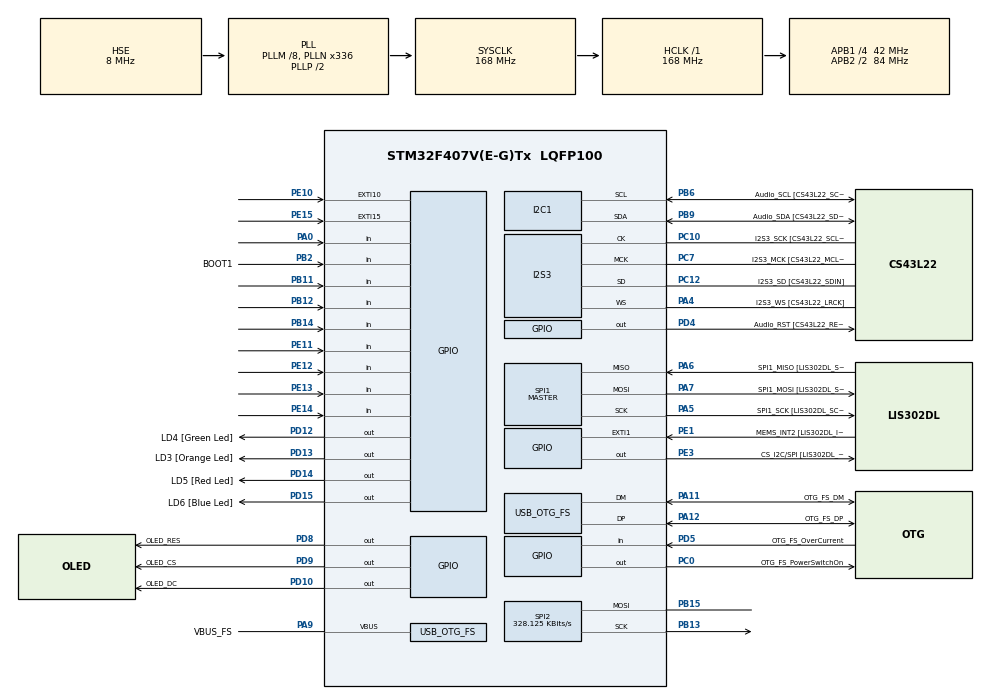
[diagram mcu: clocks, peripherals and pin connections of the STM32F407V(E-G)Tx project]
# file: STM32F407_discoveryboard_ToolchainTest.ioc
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I2S3.AudioFreq-Half_Duplex_Master=I2S_AUDIOFREQ_96K
I2S3.ErrorAudioFreq=-2.34 %
I2S3.ErrorAudioFreq-Half_Duplex_Master=0.8 %
I2S3.FullDuplexMode=I2S_FULLDUPLEXMODE_DISABLE
I2S3.Instance=SPI$Index
I2S3.RealAudioFreq=93.75 KHz
I2S3.RealAudioFreq-Half_Duplex_Master=96.774 KHz
I2S3.VirtualMode=I2S_MODE_MASTER
Mcu.Family=STM32F4
Mcu.Name=STM32F407V(E-G)Tx
Mcu.Package=LQFP100
NVIC.EXTI15_10_IRQn=true\:0\:0\:false\:false\:true\:true\:true
NVIC.OTG_FS_IRQn=true\:0\:0\:false\:false\:true\:true\:true
NVIC.PriorityGroup=NVIC_PRIORITYGROUP_0
NVIC.TIM2_IRQn=true\:0\:0\:false\:false\:true\:true\:true
NVIC.TIM3_IRQn=true\:0\:0\:false\:false\:true\:true\:true
PA0-WKUP.Signal=GPIO_Input
PA10.GPIO_Label=OTG_FS_ID
PA10.GPIO_Mode=GPIO_MODE_AF_PP
PA10.GPIO_PuPd=GPIO_NOPULL
PA10.GPIO_Speed=GPIO_SPEED_FREQ_LOW
PA10.Signal=USB_OTG_FS_ID
PA11.GPIO_Label=OTG_FS_DM
PA11.GPIO_Mode=GPIO_MODE_AF_PP
PA11.GPIO_PuPd=GPIO_NOPULL
PA11.GPIO_Speed=GPIO_SPEED_FREQ_LOW
PA11.Mode=Host_Only
PA11.Signal=USB_OTG_FS_DM
PA12.GPIO_Label=OTG_FS_DP
PA12.GPIO_Mode=GPIO_MODE_AF_PP
PA12.GPIO_PuPd=GPIO_NOPULL
PA12.GPIO_Speed=GPIO_SPEED_FREQ_LOW
PA12.Mode=Host_Only
PA12.Signal=USB_OTG_FS_DP
PA13.GPIO_Label=SWDIO
PA13.Mode=Serial_Wire
PA13.Signal=SYS_JTMS-SWDIO
PA14.GPIO_Label=SWCLK
PA14.Mode=Serial_Wire
PA14.Signal=SYS_JTCK-SWCLK
PA4.GPIO_Label=I2S3_WS [CS43L22_LRCK]
PA4.GPIO_Mode=GPIO_MODE_AF_PP
PA4.GPIO_PuPd=GPIO_NOPULL
PA4.GPIO_Speed=GPIO_SPEED_FREQ_LOW
PA4.Mode=Half_Duplex_Master
PA4.Signal=I2S3_WS
PA5.GPIO_Label=SPI1_SCK [LIS302DL_SCL/SPC]
PA5.GPIO_Mode=GPIO_MODE_AF_PP
PA5.GPIO_PuPd=GPIO_NOPULL
PA5.GPIO_Speed=GPIO_SPEED_FREQ_LOW
PA5.Mode=Full_Duplex_Master
PA5.Signal=SPI1_SCK
PA6.GPIO_Label=SPI1_MISO [LIS302DL_SDO]
PA6.GPIO_Mode=GPIO_MODE_AF_PP
PA6.GPIO_PuPd=GPIO_NOPULL
PA6.GPIO_Speed=GPIO_SPEED_FREQ_LOW
PA6.Mode=Full_Duplex_Master
PA6.Signal=SPI1_MISO
PA7.GPIO_Label=SPI1_MOSI [LIS302DL_SDA/SDI/SDO]
PA7.GPIO_Mode=GPIO_MODE_AF_PP
PA7.GPIO_PuPd=GPIO_NOPULL
PA7.GPIO_Speed=GPIO_SPEED_FREQ_LOW
PA7.Mode=Full_Duplex_Master
PA7.Signal=SPI1_MOSI
PA9.GPIO_Label=VBUS_FS
PA9.GPIO_Mode=GPIO_MODE_INPUT
PA9.GPIO_PuPd=GPIO_NOPULL
PA9.Mode=Activate_VBUS
PA9.Signal=USB_OTG_FS_VBUS
PB10.GPIO_Label=CLK_IN [MP45DT02_CLK]
PB10.GPIO_Mode=GPIO_MODE_AF_PP
PB10.GPIO_PuPd=GPIO_NOPULL
PB10.GPIO_Speed=GPIO_SPEED_FREQ_LOW
PB10.Signal=I2S2_CK
PB11.GPIO_Mode=GPIO_MODE_INPUT
PB11.GPIO_PuPd=GPIO_PULLDOWN
PB11.Signal=GPIO_Input
PB12.GPIO_Mode=GPIO_MODE_INPUT
PB12.GPIO_PuPd=GPIO_PULLDOWN
PB12.Signal=GPIO_Input
PB13.Mode=Simplex_Bidirectional_Master
PB13.Signal=SPI2_SCK
PB14.GPIO_Mode=GPIO_MODE_INPUT
PB14.GPIO_PuPd=GPIO_PULLDOWN
PB14.Signal=GPIO_Input
PB15.Mode=Simplex_Bidirectional_Master
PB15.Signal=SPI2_MOSI
PB2.GPIO_Label=BOOT1
PB2.GPIO_Mode=GPIO_MODE_INPUT
PB2.GPIO_PuPd=GPIO_NOPULL
PB2.Signal=GPIO_Input
PB3.GPIO_Label=SWO
PB3.Signal=SYS_JTDO-SWO
PB6.GPIO_Label=Audio_SCL [CS43L22_SCL]
PB6.GPIO_Mode=GPIO_MODE_AF_OD
PB6.GPIO_Pu=GPIO_PULLUP
PB6.GPIO_PuPd=GPIO_NOPULL
PB6.GPIO_Speed=GPIO_SPEED_FREQ_LOW
PB6.Mode=I2C
PB6.Signal=I2C1_SCL
PB9.GPIO_Label=Audio_SDA [CS43L22_SDA]
PB9.GPIO_Mode=GPIO_MODE_AF_OD
PB9.GPIO_Pu=GPIO_PULLUP
PB9.GPIO_PuPd=GPIO_NOPULL
PB9.GPIO_Speed=GPIO_SPEED_FREQ_LOW
PB9.Mode=I2C
PB9.Signal=I2C1_SDA
PC0.GPIO_Label=OTG_FS_PowerSwitchOn
PC0.GPIO_PuPd=GPIO_NOPULL
PC0.GPIO_Speed=GPIO_SPEED_FREQ_LOW
PC0.PinState=GPIO_PIN_SET
PC0.Signal=GPIO_Output
PC10.GPIO_Label=I2S3_SCK [CS43L22_SCLK]
PC10.GPIO_Mode=GPIO_MODE_AF_PP
PC10.GPIO_PuPd=GPIO_NOPULL
PC10.GPIO_Speed=GPIO_SPEED_FREQ_LOW
PC10.Mode=Half_Duplex_Master
PC10.Signal=I2S3_CK
PC12.GPIO_Label=I2S3_SD [CS43L22_SDIN]
PC12.GPIO_Mode=GPIO_MODE_AF_PP
PC12.GPIO_PuPd=GPIO_NOPULL
PC12.GPIO_Speed=GPIO_SPEED_FREQ_LOW
PC12.Mode=Half_Duplex_Master
PC12.Signal=I2S3_SD
PC14-OSC32_IN.GPIO_Label=PC14-OSC32_IN
PC14-OSC32_IN.Mode=LSE-External-Oscillator
PC14-OSC32_IN.Signal=RCC_OSC32_IN
PC15-OSC32_OUT.GPIO_Label=PC15-OSC32_OUT
PC15-OSC32_OUT.Mode=LSE-External-Oscillator
PC15-OSC32_OUT.Signal=RCC_OSC32_OUT
PC3.GPIO_Label=PDM_OUT [MP45DT02_DOUT]
PC3.GPIO_Mode=GPIO_MODE_AF_PP
PC3.GPIO_PuPd=GPIO_NOPULL
PC3.GPIO_Speed=GPIO_SPEED_FREQ_LOW
PC3.Signal=I2S2_SD
PC7.GPIO_Label=I2S3_MCK [CS43L22_MCLK]
PC7.GPIO_Mode=GPIO_MODE_AF_PP
PC7.GPIO_PuPd=GPIO_NOPULL
PC7.GPIO_Speed=GPIO_SPEED_FREQ_LOW
PC7.Mode=Master_Clock_Activated
PC7.Signal=I2S3_MCK
PD10.GPIO_Label=OLED_DC
PD10.Signal=GPIO_Output
PD12.GPIO_Label=LD4 [Green Led]
PD12.GPIO_PuPd=GPIO_NOPULL
PD12.GPIO_Speed=GPIO_SPEED_FREQ_LOW
PD12.Signal=GPIO_Output
PD13.GPIO_Label=LD3 [Orange Led]
PD13.GPIO_PuPd=GPIO_NOPULL
PD13.GPIO_Speed=GPIO_SPEED_FREQ_LOW
PD13.Signal=GPIO_Output
PD14.GPIO_Label=LD5 [Red Led]
PD14.GPIO_PuPd=GPIO_NOPULL
PD14.GPIO_Speed=GPIO_SPEED_FREQ_LOW
PD14.Signal=GPIO_Output
PD15.GPIO_Label=LD6 [Blue Led]
PD15.GPIO_PuPd=GPIO_NOPULL
PD15.GPIO_Speed=GPIO_SPEED_FREQ_LOW
PD15.Signal=GPIO_Output
PD4.GPIO_Label=Audio_RST [CS43L22_RESET]
PD4.GPIO_PuPd=GPIO_NOPULL
PD4.GPIO_Speed=GPIO_SPEED_FREQ_LOW
PD4.Signal=GPIO_Output
PD5.GPIO_Label=OTG_FS_OverCurrent
PD5.GPIO_Mode=GPIO_MODE_INPUT
PD5.GPIO_PuPd=GPIO_NOPULL
PD5.Signal=GPIO_Input
PD8.GPIO_Label=OLED_RES
PD8.Signal=GPIO_Output
PD9.GPIO_Label=OLED_CS
PD9.Signal=GPIO_Output
PE1.GPIO_Label=MEMS_INT2 [LIS302DL_INT2]
PE1.GPIO_ModeDefaultEXTI=GPIO_MODE_EVT_RISING
PE1.GPIO_PuPd=GPIO_NOPULL
PE1.Signal=GPXTI1
PE10.GPIO_PuPd=GPIO_PULLDOWN
PE10.Signal=GPXTI10
PE11.GPIO_Mode=GPIO_MODE_INPUT
PE11.GPIO_PuPd=GPIO_PULLDOWN
PE11.Signal=GPIO_Input
PE12.GPIO_Mode=GPIO_MODE_INPUT
PE12.GPIO_PuPd=GPIO_PULLDOWN
PE12.Signal=GPIO_Input
PE13.GPIO_Mode=GPIO_MODE_INPUT
PE13.GPIO_PuPd=GPIO_PULLDOWN
PE13.Signal=GPIO_Input
PE14.GPIO_Mode=GPIO_MODE_INPUT
PE14.GPIO_PuPd=GPIO_PULLDOWN
PE14.Signal=GPIO_Input
PE15.GPIO_ModeDefaultEXTI=GPIO_MODE_IT_RISING_FALLING
PE15.GPIO_PuPd=GPIO_PULLDOWN
PE15.Signal=GPXTI15
PE3.GPIO_Label=CS_I2C/SPI [LIS302DL_CS_I2C/SPI]
PE3.GPIO_PuPd=GPIO_NOPULL
PE3.GPIO_Speed=GPIO_SPEED_FREQ_LOW
PE3.Signal=GPIO_Output
PH0-OSC_IN.GPIO_Label=PH0-OSC_IN
PH0-OSC_IN.Mode=HSE-External-Oscillator
PH0-OSC_IN.Signal=RCC_OSC_IN
PH1-OSC_OUT.GPIO_Label=PH1-OSC_OUT
PH1-OSC_OUT.Mode=HSE-External-Oscillator
PH1-OSC_OUT.Signal=RCC_OSC_OUT
ProjectManager.HeapSize=0x200
ProjectManager.StackSize=0x400
ProjectManager.TargetToolchain=Makefile
RCC.48MHZClocksFreq_Value=48000000
RCC.AHBFreq_Value=168000000
RCC.APB1CLKDivider=RCC_HCLK_DIV4
RCC.APB1Freq_Value=42000000
RCC.APB1TimFreq_Value=84000000
RCC.APB2CLKDivider=RCC_HCLK_DIV2
RCC.APB2Freq_Value=84000000
RCC.APB2TimFreq_Value=168000000
RCC.CortexFreq_Value=168000000
RCC.HCLKFreq_Value=168000000
RCC.HSE_VALUE=8000000
RCC.HSI_VALUE=16000000
RCC.PLLM=8
RCC.PLLN=336
RCC.PLLQ=7
RCC.SYSCLKFreq_VALUE=168000000
RCC.SYSCLKSource=RCC_SYSCLKSOURCE_PLLCLK
RCC.VCOOutputFreq_Value=336000000
SPI1.BaudRatePrescaler-Full_Duplex_Master=SPI_BAUDRATEPRESCALER_2
SPI1.CalculateBaudRate-Full_Duplex_Master=42.0 MBits/s
SPI1.Direction=SPI_DIRECTION_2LINES
SPI1.Mode=SPI_MODE_MASTER
SPI1.Mode-Full_Duplex_Master=SPI_MODE_MASTER
SPI1.VirtualType=VM_MASTER
SPI2.BaudRatePrescaler=SPI_BAUDRATEPRESCALER_128
SPI2.CalculateBaudRate=328.125 KBits/s
SPI2.Direction=SPI_DIRECTION_1LINE
SPI2.Mode=SPI_MODE_MASTER
SPI2.VirtualType=VM_MASTER
TIM2.Period=20-1
TIM2.Prescaler=84-1
TIM3.Period=10000
TIM3.Prescaler=8400-1
USB_HOST.BSP.number=1
USB_HOST.USBH_HandleTypeDef-CDC_FS=hUsbHostFS
USB_HOST.VirtualModeFS=Cdc
USB_HOST0.BSP.STBoard=false
USB_HOST0.BSP.api=Unknown
USB_HOST0.BSP.i2caddr=0
USB_HOST0.BSP.i2creg=0
USB_HOST0.BSP.instance=PC0
USB_HOST0.BSP.ip=GPIO
USB_HOST0.BSP.mode=Output
USB_HOST0.BSP.name=Drive_VBUS_FS
USB_HOST0.BSP.solution=PC0
USB_OTG_FS.VirtualMode=Host_Only
USB_OTG_FS.phy_itface=HCD_PHY_EMBEDDED
VP_TIM2_VS_ClockSourceINT.Mode=Internal
VP_TIM3_VS_ClockSourceINT.Mode=Internal
VP_USB_HOST_VS_USB_HOST_CDC_FS.Mode=CDC_FS
board=STM32F407G-DISC1

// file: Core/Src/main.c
/* USER CODE BEGIN Header */
/**
  ******************************************************************************
  * @file           : main.c
  * @brief          : Main program body
  ******************************************************************************
  * @attention
  *
  * <h2><center>&copy; Copyright (c) 2021 STMicroelectronics.
  * All rights reserved.</center></h2>
  *
  * This software component is licensed by ST under Ultimate Liberty license
  * SLA0044, the "License"; You may not use this file except in compliance with
  * the License. You may obtain a copy of the License at:
  *                             www.st.com/SLA0044
  *
  ******************************************************************************
  */
/* USER CODE END Header */
#include "main.h"
#include "usb_host.h"

/* USER CODE BEGIN Includes */
#include "eeprom.h"
#include "ssd1306.h"
#include "ssd1306_tests.h"
#include "quoridor.h"
#include "quoridor_config.h"
#include "quoridor_tests.h"
#include <string.h>
#include "buttons.h"
#include "button_interrupt.h"
/* USER CODE END Includes */

I2C_HandleTypeDef hi2c1;

I2S_HandleTypeDef hi2s3;

SPI_HandleTypeDef hspi1;
SPI_HandleTypeDef hspi2;

TIM_HandleTypeDef htim2;
TIM_HandleTypeDef htim3;

/* USER CODE BEGIN PV */
/* Virtual address defined by the user: 0xFFFF value is prohibited */
uint16_t VirtAddVarTab[NB_OF_VAR] = {0x5555, 0x6666, 0x7777};
uint16_t VarDataTab[NB_OF_VAR] = {0, 0, 0};
uint16_t VarValue, VarDataTmp = 0;
/* USER CODE END PV */

void SystemClock_Config(void);
static void MX_GPIO_Init(void);
static void MX_I2C1_Init(void);
static void MX_I2S3_Init(void);
static void MX_SPI1_Init(void);
static void MX_TIM2_Init(void);
static void MX_SPI2_Init(void);
static void MX_TIM3_Init(void);
void MX_USB_HOST_Process(void);

int main(void)
{
    /* USER CODE BEGIN 1 */
    //https://github.com/afiskon/stm32-ssd1306
    /* USER CODE END 1 */

    /* MCU Configuration--------------------------------------------------------*/

    /* Reset of all peripherals, Initializes the Flash interface and the Systick. */
    HAL_Init();

    /* Configure the system clock */
    SystemClock_Config();

    /* Initialize all configured peripherals */
    MX_GPIO_Init();
    MX_I2C1_Init();
    MX_I2S3_Init();
    MX_SPI1_Init();
    MX_USB_HOST_Init();
    MX_TIM2_Init();
    MX_SPI2_Init();
    MX_TIM3_Init();
    /* USER CODE BEGIN 2 */
    HAL_TIM_Base_Start_IT(&htim2);

    //     // Update SystemCoreClock variable
    // SystemCoreClockUpdate();
    // // Make SysTick overflow every 1ms
    // SysTick_Config(SystemCoreClock / 1000);

    /* USER CODE END 2 */

    /* Infinite loop */
    /* USER CODE BEGIN WHILE */
    oled_init();
#define EEPROM_TEST

#ifdef EEPROM_TEST

//setup memory
// HAL_FLASH_Unlock();
// FLASH_Erase_Sector(11, FLASH_VOLTAGE_RANGE_3);
// HAL_FLASH_Lock();

//write to memory
uint8_t rdBuf[5];
uint8_t wrBuf[5] = {0x11, 0x22, 0x33, 0x44, 0x55};
uint32_t flashAddress = 0x080E0000;
// //uint8_t wrBuf[5] = {0xFE, 0xFE, 0xFE, 0xFE, 0xFE};

// HAL_FLASH_Unlock();
// for(uint32_t i=0; i<5; i++)
// {
//     HAL_FLASH_Program(FLASH_TYPEPROGRAM_BYTE, flashAddress, ((uint8_t *)wrBuf)[i]);
//     flashAddress++;
// }
// HAL_FLASH_Lock();

//read
flashAddress = 0x080E0000;
for(uint32_t i=0; i<5; i++)
{
    *((uint8_t *)rdBuf + i) = *(uint8_t *)flashAddress;
    flashAddress++;
}

    /* Unlock the Flash Program Erase controller */
    // HAL_FLASH_Unlock();

    // /* EEPROM Init */
    // if (EE_Init() != EE_OK)
    // {
    //     Error_Handler();
    // }

    // /* --- Store successively many values of the three variables in the EEPROM ---*/
    // /* Store 0x1000 values of Variable1 in EEPROM */
    // for (VarValue = 1; VarValue <= 5; VarValue++)
    // // for (VarValue = 1; VarValue <= 0x1000; VarValue++)
    // {
    //     /* Sequence 1 */
    //     if ((EE_WriteVariable(VirtAddVarTab[0], VarValue)) != HAL_OK)
    //     {
    //         Error_Handler();
    //     }
    //     if ((EE_ReadVariable(VirtAddVarTab[0], &VarDataTab[0])) != HAL_OK)
    //     {
    //         Error_Handler();
    //     }
    //     if (VarValue != VarDataTab[0])
    //     {
    //         Error_Handler();
    //     }

    //     /* Sequence 2 */
    //     if (EE_WriteVariable(VirtAddVarTab[1], ~VarValue) != HAL_OK)
    //     {
    //         Error_Handler();
    //     }
    //     if (EE_ReadVariable(VirtAddVarTab[1], &VarDataTab[1]) != HAL_OK)
    //     {
    //         Error_Handler();
    //     }
    //     if (((uint16_t)~VarValue) != VarDataTab[1])
    //     {
    //         Error_Handler();
    //     }

    //     /* Sequence 3 */
    //     if (EE_WriteVariable(VirtAddVarTab[2], VarValue << 1) != HAL_OK)
    //     {
    //         Error_Handler();
    //     }
    //     if (EE_ReadVariable(VirtAddVarTab[2], &VarDataTab[2]) != HAL_OK)
    //     {
    //         Error_Handler();
    //     }
    //     if ((VarValue << 1) != VarDataTab[2])
    //     {
    //         Error_Handler();
    //     }
    // }
    // HAL_FLASH_Lock();
#endif
    // /* Store 0x2000 values of Variable2 in EEPROM */
    // for (VarValue = 1; VarValue <= 0x2000; VarValue++)
    // {
    //     if (EE_WriteVariable(VirtAddVarTab[1], VarValue) != HAL_OK)
    //     {
    //         Error_Handler();
    //     }
    //     if (EE_ReadVariable(VirtAddVarTab[1], &VarDataTab[1]) != HAL_OK)
    //     {
    //         Error_Handler();
    //     }
    //     if (VarValue != VarDataTab[1])
    //     {
    //         Error_Handler();
    //     }
    // }

    // /* read the last stored variables data*/
    // if (EE_ReadVariable(VirtAddVarTab[0], &VarDataTmp) != HAL_OK)
    // {
    //     Error_Handler();
    // }
    // if (VarDataTmp != VarDataTab[0])
    // {
    //     Error_Handler();
    // }

    // if (EE_ReadVariable(VirtAddVarTab[1], &VarDataTmp) != HAL_OK)
    // {
    //     Error_Handler();
    // }
    // if (VarDataTmp != VarDataTab[1])
    // {
    //     Error_Handler();
    // }

    // if (EE_ReadVariable(VirtAddVarTab[2], &VarDataTmp) != HAL_OK)
    // {
    //     Error_Handler();
    // }
    // if (VarDataTmp != VarDataTab[2])
    // {
    //     Error_Handler();
    // }

    // /* Store 0x3000 values of Variable3 in EEPROM */
    // for (VarValue = 1; VarValue <= 0x3000; VarValue++)
    // {
    //     if (EE_WriteVariable(VirtAddVarTab[2], VarValue) != HAL_OK)
    //     {
    //         Error_Handler();
    //     }
    //     if (EE_ReadVariable(VirtAddVarTab[2], &VarDataTab[2]) != HAL_OK)
    //     {
    //         Error_Handler();
    //     }
    //     if (VarValue != VarDataTab[2])
    //     {
    //         Error_Handler();
    //     }
    // }

    // /* read the last stored variables data*/
    // if (EE_ReadVariable(VirtAddVarTab[0], &VarDataTmp) != HAL_OK)
    // {
    //     Error_Handler();
    // }
    // if (VarDataTmp != VarDataTab[0])
    // {
    //     Error_Handler();
    // }

    // if (EE_ReadVariable(VirtAddVarTab[1], &VarDataTmp) != HAL_OK)
    // {
    //     Error_Handler();
    // }
    // if (VarDataTmp != VarDataTab[1])
    // {
    //     Error_Handler();
    // }

    // if (EE_ReadVariable(VirtAddVarTab[2], &VarDataTmp) != HAL_OK)
    // {
    //     Error_Handler();
    // }
    // if (VarDataTmp != VarDataTab[2])
    // {
    //     Error_Handler();
    // }

    uint8_t button_pressed_edge_memory;

#define DEFAULT_GAME_AT_STARTUP

#ifdef DEFAULT_GAME_AT_STARTUP

    uint8_t moves_count;
    char* moves_lode_notation;

    char game_0[MOVES_STRING_LENGTH] = "2b,d2,N,S,N,S,N,S,N,SS,a2,h3";
    uint8_t game_0_moves_count = 12;
    char game_1[MOVES_STRING_LENGTH] = "N,3d,N,3f,2c,2e,E,S,a1,b1,c1,d1,e1,f1,g1,h1,a8,b8,c8,d8,e8,S,g8,S,h8,S,W,N,E,N,E,S,E,N,N,S,N,S,N,N,N,N,N,S"; //44
    uint8_t game_1_moves_count = 44;

    if (rdBuf[0] == 0x11){
        moves_count = game_0_moves_count;
        moves_lode_notation = game_0;

    }else{
        moves_count = game_1_moves_count;
        moves_lode_notation = game_1;

    }

    // char moves_lode_notation[MOVES_STRING_LENGTH] = "N,3d,N,3f,2c,2e,E,S,a1,b1,c1,d1,e1,f1,g1,h1,a8,b8,c8,d8,e8,S,g8,S,h8,S,W,N,E,N,E,S,E,N,N,S,N,S,N,E,N,S,N"; //43
    // char moves_lode_notation[MOVES_STRING_LENGTH] = "N,S,1d,S,1f,S,1h,E,c1"; //9
    // char moves_lode_notation[MOVES_STRING_LENGTH] = "N,S,N,S,N,S,2d,4d,2f,E,2b,a1,E,E,N,5f,E,E,2h,g4,c5,S,c3,N,c7,8b,3h,W,W,W,W,N,N,6d,f6,N,E,W,N,7e,W,N,W,8d,f8,W,N,W,E,W,E,W,N";
    //char moves_lode_notation [MOVES_STRING_LENGTH] = "h1,N,S,N,S,N,S,N,SS,a2,h3";
    //char moves_lode_notation [MOVES_STRING_LENGTH] = "2b,d2,N,S,N,S,N,S,N,SS,a2,h3";

    quoridor_init(moves_lode_notation, moves_count);
#else
    char moves_lode_notation[MOVES_STRING_LENGTH] = "";
    quoridor_init(moves_lode_notation, 0);
#endif

    button_interupt_set_button(0, GPIOE, GPIO_PIN_15);

    while (1)
    {

        // update_game_move();
        read_buttons();

        uint8_t edges_up[6];

        edges_up[0] = button_get_edge_up_single_readout(BUTTON_NORTH);
        edges_up[1] = button_get_edge_up_single_readout(BUTTON_EAST);
        edges_up[2] = button_get_edge_up_single_readout(BUTTON_SOUTH);
        edges_up[3] = button_get_edge_up_single_readout(BUTTON_WEST);
        edges_up[4] = button_get_edge_up_single_readout(BUTTON_ENTER);
        //edges_up[5] = button_get_edge_up_single_readout(BUTTON_TOGGLE);
        edges_up[5] = button_interrupt_get_edge_up_single_readout(0);

        // toggle light at each button press to relief myself of the stress if it's a software problem or a fucking bad button problem
        if (
            edges_up[0] ||
            edges_up[1] ||
            edges_up[2] ||
            edges_up[3] ||
            edges_up[4] ||
            edges_up[5])
        {
            HAL_GPIO_TogglePin(led_orange_GPIO_Port, led_orange_Pin);
        }

        program_state_manager(
            edges_up[0],
            edges_up[1],
            edges_up[2],
            edges_up[3],
            edges_up[4],
            edges_up[5]);

        // #ifdef QUORIDOR_AUTOPLAY
        //             autoplay_game_next_move();
        // #else
        //             replay_game_next_move();
        // #endif
        //         }
        // #endif
        // button_pressed_edge_memory = button_pressed;

        /* USER CODE END WHILE */
        MX_USB_HOST_Process();

        /* USER CODE BEGIN 3 */

        // HAL_GPIO_TogglePin(led_orange_GPIO_Port,led_orange_Pin);
        // HAL_Delay(40);
    }

    /* USER CODE END 3 */
}

void SystemClock_Config(void)
{

    RCC_OscInitTypeDef RCC_OscInitStruct = {0};
    RCC_ClkInitTypeDef RCC_ClkInitStruct = {0};

    /** Configure the main internal regulator output voltage
  */
    __HAL_RCC_PWR_CLK_ENABLE();
    __HAL_PWR_VOLTAGESCALING_CONFIG(PWR_REGULATOR_VOLTAGE_SCALE1);
    /** Initializes the RCC Oscillators according to the specified parameters
  * in the RCC_OscInitTypeDef structure.
  */
    RCC_OscInitStruct.OscillatorType = RCC_OSCILLATORTYPE_HSE;
    RCC_OscInitStruct.HSEState = RCC_HSE_ON;
    RCC_OscInitStruct.PLL.PLLState = RCC_PLL_ON;
    RCC_OscInitStruct.PLL.PLLSource = RCC_PLLSOURCE_HSE;
    RCC_OscInitStruct.PLL.PLLM = 8;
    RCC_OscInitStruct.PLL.PLLN = 336;
    RCC_OscInitStruct.PLL.PLLP = RCC_PLLP_DIV2;
    RCC_OscInitStruct.PLL.PLLQ = 7;
    if (HAL_RCC_OscConfig(&RCC_OscInitStruct) != HAL_OK)
    {
        Error_Handler();
    }
    /** Initializes the CPU, AHB and APB buses clocks
  */
    RCC_ClkInitStruct.ClockType = RCC_CLOCKTYPE_HCLK | RCC_CLOCKTYPE_SYSCLK | RCC_CLOCKTYPE_PCLK1 | RCC_CLOCKTYPE_PCLK2;
    RCC_ClkInitStruct.SYSCLKSource = RCC_SYSCLKSOURCE_PLLCLK;
    RCC_ClkInitStruct.AHBCLKDivider = RCC_SYSCLK_DIV1;
    RCC_ClkInitStruct.APB1CLKDivider = RCC_HCLK_DIV4;
    RCC_ClkInitStruct.APB2CLKDivider = RCC_HCLK_DIV2;

    if (HAL_RCC_ClockConfig(&RCC_ClkInitStruct, FLASH_LATENCY_5) != HAL_OK)
    {
        Error_Handler();
    }
}

static void MX_I2C1_Init(void)
{

    hi2c1.Instance = I2C1;
    hi2c1.Init.ClockSpeed = 100000;
    hi2c1.Init.DutyCycle = I2C_DUTYCYCLE_2;
    hi2c1.Init.OwnAddress1 = 0;
    hi2c1.Init.AddressingMode = I2C_ADDRESSINGMODE_7BIT;
    hi2c1.Init.DualAddressMode = I2C_DUALADDRESS_DISABLE;
    hi2c1.Init.OwnAddress2 = 0;
    hi2c1.Init.GeneralCallMode = I2C_GENERALCALL_DISABLE;
    hi2c1.Init.NoStretchMode = I2C_NOSTRETCH_DISABLE;
    if (HAL_I2C_Init(&hi2c1) != HAL_OK)
    {
        Error_Handler();
    }
}

static void MX_I2S3_Init(void)
{

    hi2s3.Instance = SPI3;
    hi2s3.Init.Mode = I2S_MODE_MASTER_TX;
    hi2s3.Init.Standard = I2S_STANDARD_PHILIPS;
    hi2s3.Init.DataFormat = I2S_DATAFORMAT_16B;
    hi2s3.Init.MCLKOutput = I2S_MCLKOUTPUT_ENABLE;
    hi2s3.Init.AudioFreq = I2S_AUDIOFREQ_96K;
    hi2s3.Init.CPOL = I2S_CPOL_LOW;
    hi2s3.Init.ClockSource = I2S_CLOCK_PLL;
    hi2s3.Init.FullDuplexMode = I2S_FULLDUPLEXMODE_DISABLE;
    if (HAL_I2S_Init(&hi2s3) != HAL_OK)
    {
        Error_Handler();
    }
}

static void MX_SPI1_Init(void)
{

    /* SPI1 parameter configuration*/
    hspi1.Instance = SPI1;
    hspi1.Init.Mode = SPI_MODE_MASTER;
    hspi1.Init.Direction = SPI_DIRECTION_2LINES;
    hspi1.Init.DataSize = SPI_DATASIZE_8BIT;
    hspi1.Init.CLKPolarity = SPI_POLARITY_LOW;
    hspi1.Init.CLKPhase = SPI_PHASE_1EDGE;
    hspi1.Init.NSS = SPI_NSS_SOFT;
    hspi1.Init.BaudRatePrescaler = SPI_BAUDRATEPRESCALER_2;
    hspi1.Init.FirstBit = SPI_FIRSTBIT_MSB;
    hspi1.Init.TIMode = SPI_TIMODE_DISABLE;
    hspi1.Init.CRCCalculation = SPI_CRCCALCULATION_DISABLE;
    hspi1.Init.CRCPolynomial = 10;
    if (HAL_SPI_Init(&hspi1) != HAL_OK)
    {
        Error_Handler();
    }
}

static void MX_SPI2_Init(void)
{

    /* SPI2 parameter configuration*/
    hspi2.Instance = SPI2;
    hspi2.Init.Mode = SPI_MODE_MASTER;
    hspi2.Init.Direction = SPI_DIRECTION_1LINE;
    hspi2.Init.DataSize = SPI_DATASIZE_8BIT;
    hspi2.Init.CLKPolarity = SPI_POLARITY_LOW;
    hspi2.Init.CLKPhase = SPI_PHASE_1EDGE;
    hspi2.Init.NSS = SPI_NSS_SOFT;
    hspi2.Init.BaudRatePrescaler = SPI_BAUDRATEPRESCALER_128;
    hspi2.Init.FirstBit = SPI_FIRSTBIT_MSB;
    hspi2.Init.TIMode = SPI_TIMODE_DISABLE;
    hspi2.Init.CRCCalculation = SPI_CRCCALCULATION_DISABLE;
    hspi2.Init.CRCPolynomial = 10;
    if (HAL_SPI_Init(&hspi2) != HAL_OK)
    {
        Error_Handler();
    }
}

static void MX_TIM2_Init(void)
{

    TIM_ClockConfigTypeDef sClockSourceConfig = {0};
    TIM_MasterConfigTypeDef sMasterConfig = {0};

    htim2.Instance = TIM2;
    htim2.Init.Prescaler = 84 - 1;
    htim2.Init.CounterMode = TIM_COUNTERMODE_UP;
    htim2.Init.Period = 20 - 1;
    htim2.Init.ClockDivision = TIM_CLOCKDIVISION_DIV1;
    htim2.Init.AutoReloadPreload = TIM_AUTORELOAD_PRELOAD_DISABLE;
    if (HAL_TIM_Base_Init(&htim2) != HAL_OK)
    {
        Error_Handler();
    }
    sClockSourceConfig.ClockSource = TIM_CLOCKSOURCE_INTERNAL;
    if (HAL_TIM_ConfigClockSource(&htim2, &sClockSourceConfig) != HAL_OK)
    {
        Error_Handler();
    }
    sMasterConfig.MasterOutputTrigger = TIM_TRGO_RESET;
    sMasterConfig.MasterSlaveMode = TIM_MASTERSLAVEMODE_DISABLE;
    if (HAL_TIMEx_MasterConfigSynchronization(&htim2, &sMasterConfig) != HAL_OK)
    {
        Error_Handler();
    }
}

static void MX_TIM3_Init(void)
{

    TIM_ClockConfigTypeDef sClockSourceConfig = {0};
    TIM_MasterConfigTypeDef sMasterConfig = {0};

    htim3.Instance = TIM3;
    htim3.Init.Prescaler = 8400 - 1;
    htim3.Init.CounterMode = TIM_COUNTERMODE_UP;
    //   htim3.Init.Period = 10000;
    htim3.Init.Period = 500;
    htim3.Init.ClockDivision = TIM_CLOCKDIVISION_DIV1;
    htim3.Init.AutoReloadPreload = TIM_AUTORELOAD_PRELOAD_DISABLE;
    if (HAL_TIM_Base_Init(&htim3) != HAL_OK)
    {
        Error_Handler();
    }
    sClockSourceConfig.ClockSource = TIM_CLOCKSOURCE_INTERNAL;
    if (HAL_TIM_ConfigClockSource(&htim3, &sClockSourceConfig) != HAL_OK)
    {
        Error_Handler();
    }
    sMasterConfig.MasterOutputTrigger = TIM_TRGO_RESET;
    sMasterConfig.MasterSlaveMode = TIM_MASTERSLAVEMODE_DISABLE;
    if (HAL_TIMEx_MasterConfigSynchronization(&htim3, &sMasterConfig) != HAL_OK)
    {
        Error_Handler();
    }
}

static void MX_GPIO_Init(void)
{
    GPIO_InitTypeDef GPIO_InitStruct = {0};

    /* GPIO Ports Clock Enable */
    __HAL_RCC_GPIOE_CLK_ENABLE();
    __HAL_RCC_GPIOC_CLK_ENABLE();
    __HAL_RCC_GPIOH_CLK_ENABLE();
    __HAL_RCC_GPIOA_CLK_ENABLE();
    __HAL_RCC_GPIOB_CLK_ENABLE();
    __HAL_RCC_GPIOD_CLK_ENABLE();

    /*Configure GPIO pin Output Level */
    HAL_GPIO_WritePin(CS_I2C_SPI_GPIO_Port, CS_I2C_SPI_Pin, GPIO_PIN_RESET);

    /*Configure GPIO pin Output Level */
    HAL_GPIO_WritePin(OTG_FS_PowerSwitchOn_GPIO_Port, OTG_FS_PowerSwitchOn_Pin, GPIO_PIN_SET);

    /*Configure GPIO pin Output Level */
    HAL_GPIO_WritePin(GPIOD, OLED_RES_Pin | OLED_CS_Pin | OLED_DC_Pin | LD4_Pin | LD3_Pin | LD5_Pin | LD6_Pin | Audio_RST_Pin, GPIO_PIN_RESET);

    /*Configure GPIO pin : CS_I2C_SPI_Pin */
    GPIO_InitStruct.Pin = CS_I2C_SPI_Pin;
    GPIO_InitStruct.Mode = GPIO_MODE_OUTPUT_PP;
    GPIO_InitStruct.Pull = GPIO_NOPULL;
    GPIO_InitStruct.Speed = GPIO_SPEED_FREQ_LOW;
    HAL_GPIO_Init(CS_I2C_SPI_GPIO_Port, &GPIO_InitStruct);

    /*Configure GPIO pin : OTG_FS_PowerSwitchOn_Pin */
    GPIO_InitStruct.Pin = OTG_FS_PowerSwitchOn_Pin;
    GPIO_InitStruct.Mode = GPIO_MODE_OUTPUT_PP;
    GPIO_InitStruct.Pull = GPIO_NOPULL;
    GPIO_InitStruct.Speed = GPIO_SPEED_FREQ_LOW;
    HAL_GPIO_Init(OTG_FS_PowerSwitchOn_GPIO_Port, &GPIO_InitStruct);

    /*Configure GPIO pin : PDM_OUT_Pin */
    GPIO_InitStruct.Pin = PDM_OUT_Pin;
    GPIO_InitStruct.Mode = GPIO_MODE_AF_PP;
    GPIO_InitStruct.Pull = GPIO_NOPULL;
    GPIO_InitStruct.Speed = GPIO_SPEED_FREQ_LOW;
    GPIO_InitStruct.Alternate = GPIO_AF5_SPI2;
    HAL_GPIO_Init(PDM_OUT_GPIO_Port, &GPIO_InitStruct);

    /*Configure GPIO pin : PA0 */
    GPIO_InitStruct.Pin = GPIO_PIN_0;
    GPIO_InitStruct.Mode = GPIO_MODE_INPUT;
    GPIO_InitStruct.Pull = GPIO_NOPULL;
    HAL_GPIO_Init(GPIOA, &GPIO_InitStruct);

    /*Configure GPIO pin : BOOT1_Pin */
    GPIO_InitStruct.Pin = BOOT1_Pin;
    GPIO_InitStruct.Mode = GPIO_MODE_INPUT;
    GPIO_InitStruct.Pull = GPIO_NOPULL;
    HAL_GPIO_Init(BOOT1_GPIO_Port, &GPIO_InitStruct);

    /*Configure GPIO pin : PE10 */
    GPIO_InitStruct.Pin = GPIO_PIN_10;
    GPIO_InitStruct.Mode = GPIO_MODE_IT_RISING;
    GPIO_InitStruct.Pull = GPIO_PULLDOWN;
    HAL_GPIO_Init(GPIOE, &GPIO_InitStruct);

    /*Configure GPIO pins : PE11 PE12 PE13 PE14 */
    GPIO_InitStruct.Pin = GPIO_PIN_11 | GPIO_PIN_12 | GPIO_PIN_13 | GPIO_PIN_14;
    GPIO_InitStruct.Mode = GPIO_MODE_INPUT;
    GPIO_InitStruct.Pull = GPIO_PULLDOWN;
    HAL_GPIO_Init(GPIOE, &GPIO_InitStruct);

    /*Configure GPIO pin : PE15 */
    GPIO_InitStruct.Pin = GPIO_PIN_15;
    GPIO_InitStruct.Mode = GPIO_MODE_IT_RISING_FALLING;
    GPIO_InitStruct.Pull = GPIO_PULLDOWN;
    HAL_GPIO_Init(GPIOE, &GPIO_InitStruct);

    /*Configure GPIO pin : CLK_IN_Pin */
    GPIO_InitStruct.Pin = CLK_IN_Pin;
    GPIO_InitStruct.Mode = GPIO_MODE_AF_PP;
    GPIO_InitStruct.Pull = GPIO_NOPULL;
    GPIO_InitStruct.Speed = GPIO_SPEED_FREQ_LOW;
    GPIO_InitStruct.Alternate = GPIO_AF5_SPI2;
    HAL_GPIO_Init(CLK_IN_GPIO_Port, &GPIO_InitStruct);

    /*Configure GPIO pins : PB11 PB12 PB14 */
    GPIO_InitStruct.Pin = GPIO_PIN_11 | GPIO_PIN_12 | GPIO_PIN_14;
    GPIO_InitStruct.Mode = GPIO_MODE_INPUT;
    GPIO_InitStruct.Pull = GPIO_PULLDOWN;
    HAL_GPIO_Init(GPIOB, &GPIO_InitStruct);

    /*Configure GPIO pins : OLED_RES_Pin OLED_CS_Pin OLED_DC_Pin LD4_Pin
                           LD3_Pin LD5_Pin LD6_Pin Audio_RST_Pin */
    GPIO_InitStruct.Pin = OLED_RES_Pin | OLED_CS_Pin | OLED_DC_Pin | LD4_Pin | LD3_Pin | LD5_Pin | LD6_Pin | Audio_RST_Pin;
    GPIO_InitStruct.Mode = GPIO_MODE_OUTPUT_PP;
    GPIO_InitStruct.Pull = GPIO_NOPULL;
    GPIO_InitStruct.Speed = GPIO_SPEED_FREQ_LOW;
    HAL_GPIO_Init(GPIOD, &GPIO_InitStruct);

    /*Configure GPIO pin : OTG_FS_OverCurrent_Pin */
    GPIO_InitStruct.Pin = OTG_FS_OverCurrent_Pin;
    GPIO_InitStruct.Mode = GPIO_MODE_INPUT;
    GPIO_InitStruct.Pull = GPIO_NOPULL;
    HAL_GPIO_Init(OTG_FS_OverCurrent_GPIO_Port, &GPIO_InitStruct);

    /*Configure GPIO pin : MEMS_INT2_Pin */
    GPIO_InitStruct.Pin = MEMS_INT2_Pin;
    GPIO_InitStruct.Mode = GPIO_MODE_EVT_RISING;
    GPIO_InitStruct.Pull = GPIO_NOPULL;
    HAL_GPIO_Init(MEMS_INT2_GPIO_Port, &GPIO_InitStruct);

    /* EXTI interrupt init*/
    HAL_NVIC_SetPriority(EXTI15_10_IRQn, 0, 0);
    HAL_NVIC_EnableIRQ(EXTI15_10_IRQn);
}

/* USER CODE BEGIN 4 */

void read_buttons()
{
    button_set_state(BUTTON_SOUTH, HAL_GPIO_ReadPin(GPIOB, GPIO_PIN_11));
    button_set_state(BUTTON_NORTH, HAL_GPIO_ReadPin(GPIOB, GPIO_PIN_12));
    button_set_state(BUTTON_ENTER, HAL_GPIO_ReadPin(GPIOB, GPIO_PIN_14));
    button_set_state(BUTTON_EAST, HAL_GPIO_ReadPin(GPIOE, GPIO_PIN_13));
    button_set_state(BUTTON_WEST, HAL_GPIO_ReadPin(GPIOE, GPIO_PIN_14));
    //button_set_state(BUTTON_TOGGLE, HAL_GPIO_ReadPin(GPIOE, GPIO_PIN_15));
    buttons_refresh();
}
void HAL_GPIO_EXTI_Callback(uint16_t GPIO_Pin)
{
    if (GPIO_Pin == GPIO_PIN_15)
    {
        //button_set_state(BUTTON_TOGGLE, 1);
        //
        HAL_TIM_Base_Start_IT(&htim3);
        //buttons_refresh();
        //read_buttons();
    }
}

void HAL_TIM_PeriodElapsedCallback(TIM_HandleTypeDef *htim)
{

    if (htim->Instance == TIM2)
    {
        HAL_GPIO_WritePin(led_red_GPIO_Port, led_red_Pin, GPIO_PIN_SET);
    }
    else if (htim->Instance == TIM3)
    {
        HAL_TIM_Base_Stop_IT(&htim3);
        button_interrupt_set(0);
    }
}
/* USER CODE END 4 */

void Error_Handler(void)
{
    /* USER CODE BEGIN Error_Handler_Debug */
    /* User can add his own implementation to report the HAL error return state */
    __disable_irq();

    raise_error(ERROR_GENERAL_HAL_GENERATED);
    while (1)
    {
    }
    /* USER CODE END Error_Handler_Debug */
}

/************************ (C) COPYRIGHT STMicroelectronics *****END OF FILE****/
